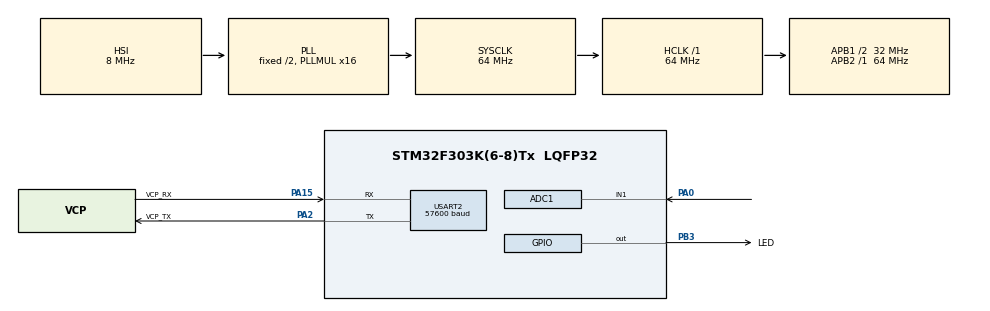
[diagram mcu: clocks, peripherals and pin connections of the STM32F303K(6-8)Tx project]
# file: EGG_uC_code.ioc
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ADC1.Channel-0\#ChannelRegularConversion=ADC_CHANNEL_1
ADC1.ClockPrescaler=ADC_CLOCK_SYNC_PCLK_DIV1
ADC1.ContinuousConvMode=DISABLE
ADC1.DMAContinuousRequests=ENABLE
ADC1.DataAlign=ADC_DATAALIGN_RIGHT
ADC1.DiscontinuousConvMode=DISABLE
ADC1.EOCSelection=ADC_EOC_SINGLE_CONV
ADC1.EnableAnalogWatchDog1=false
ADC1.EnableAnalogWatchDog2=false
ADC1.EnableAnalogWatchDog3=false
ADC1.EnableInjectedConversion=ENABLE
ADC1.EnableRegularConversion=ENABLE
ADC1.ExternalTrigConv=ADC_EXTERNALTRIGCONV_T3_TRGO
ADC1.ExternalTrigConvEdge=ADC_EXTERNALTRIGCONVEDGE_RISING
ADC1.InjNumberOfConversion=0
ADC1.LowPowerAutoWait=DISABLE
ADC1.NbrOfConversion=1
ADC1.NbrOfConversionFlag=1
ADC1.Offset-0\#ChannelRegularConversion=0
ADC1.OffsetNumber-0\#ChannelRegularConversion=ADC_OFFSET_NONE
ADC1.Overrun=ADC_OVR_DATA_OVERWRITTEN
ADC1.Rank-0\#ChannelRegularConversion=1
ADC1.Resolution=ADC_RESOLUTION_12B
ADC1.SamplingTime-0\#ChannelRegularConversion=ADC_SAMPLETIME_1CYCLE_5
ADC1.ScanConvMode=ADC_SCAN_DISABLE
ADC1.SubFamily=STM32F303x8
ADC1.master=1
Dma.ADC1.0.Direction=DMA_PERIPH_TO_MEMORY
Dma.ADC1.0.Instance=DMA1_Channel1
Dma.ADC1.0.MemDataAlignment=DMA_MDATAALIGN_HALFWORD
Dma.ADC1.0.MemInc=DMA_MINC_ENABLE
Dma.ADC1.0.Mode=DMA_CIRCULAR
Dma.ADC1.0.PeriphDataAlignment=DMA_PDATAALIGN_HALFWORD
Dma.ADC1.0.PeriphInc=DMA_PINC_DISABLE
Dma.ADC1.0.Priority=DMA_PRIORITY_MEDIUM
Dma.Request0=ADC1
Dma.Request1=USART2_TX
Dma.USART2_TX.1.Direction=DMA_MEMORY_TO_PERIPH
Dma.USART2_TX.1.Instance=DMA1_Channel7
Dma.USART2_TX.1.MemDataAlignment=DMA_MDATAALIGN_BYTE
Dma.USART2_TX.1.MemInc=DMA_MINC_ENABLE
Dma.USART2_TX.1.Mode=DMA_NORMAL
Dma.USART2_TX.1.PeriphDataAlignment=DMA_PDATAALIGN_BYTE
Dma.USART2_TX.1.PeriphInc=DMA_PINC_DISABLE
Dma.USART2_TX.1.Priority=DMA_PRIORITY_LOW
Mcu.Family=STM32F3
Mcu.Name=STM32F303K(6-8)Tx
Mcu.Package=LQFP32
NVIC.DMA1_Channel1_IRQn=true\:0\:0\:false\:false\:true\:false\:true\:true
NVIC.DMA1_Channel7_IRQn=true\:0\:0\:false\:false\:true\:false\:true\:true
NVIC.PriorityGroup=NVIC_PRIORITYGROUP_4
NVIC.TIM3_IRQn=true\:0\:0\:false\:false\:true\:true\:true\:true
NVIC.USART2_IRQn=true\:0\:0\:false\:false\:true\:true\:true\:true
PA0.Mode=IN1-Single-Ended
PA0.Signal=ADC1_IN1
PA13.GPIO_Label=SWDIO
PA13.Mode=Serial_Wire
PA13.Signal=SYS_JTMS-SWDIO
PA14.GPIO_Label=SWCLK
PA14.Mode=Serial_Wire
PA14.Signal=SYS_JTCK-SWCLK
PA15.GPIO_Label=VCP_RX
PA15.Mode=Asynchronous
PA15.Signal=USART2_RX
PA2.GPIO_Label=VCP_TX
PA2.Mode=Asynchronous
PA2.Signal=USART2_TX
PB3.GPIO_Label=LED
PB3.Signal=GPIO_Output
PF0\ /\ OSC_IN.GPIO_Label=MCO
PF0\ /\ OSC_IN.Mode=HSE-External-Clock-Source
PF0\ /\ OSC_IN.Signal=RCC_OSC_IN
ProjectManager.HeapSize=0x200
ProjectManager.StackSize=0x400
ProjectManager.TargetToolchain=STM32CubeIDE
RCC.AHBFreq_Value=64000000
RCC.APB1CLKDivider=RCC_HCLK_DIV2
RCC.APB1Freq_Value=32000000
RCC.APB1TimFreq_Value=64000000
RCC.APB2Freq_Value=64000000
RCC.APB2TimFreq_Value=64000000
RCC.CortexFreq_Value=64000000
RCC.HCLKFreq_Value=64000000
RCC.HSE_VALUE=8000000
RCC.HSI_VALUE=8000000
RCC.PLLMUL=RCC_PLL_MUL16
RCC.SYSCLKFreq_VALUE=64000000
RCC.SYSCLKSourceVirtual=RCC_SYSCLKSOURCE_PLLCLK
RCC.Usart1ClockSelection=RCC_USART1CLKSOURCE_SYSCLK
TIM3.Period=640
TIM3.Prescaler=100-1
TIM3.TIM_MasterOutputTrigger=TIM_TRGO_UPDATE
USART2.BaudRate=57600
USART2.TxPinLevelInvertParam=ADVFEATURE_TXINV_DISABLE
USART2.VirtualMode-Asynchronous=VM_ASYNC
VP_TIM3_VS_ClockSourceINT.Mode=Internal
board=NUCLEO-F303K8

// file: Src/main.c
/* USER CODE BEGIN Header */
/**
 ******************************************************************************
 * @file           : main.c
 * @brief          : Main program body
 ******************************************************************************
 * @attention
 *
 * Copyright (c) 2026 STMicroelectronics.
 * All rights reserved.
 *
 * This software is licensed under terms that can be found in the LICENSE file
 * in the root directory of this software component.
 * If no LICENSE file comes with this software, it is provided AS-IS.
 *
 ******************************************************************************
 */
/* USER CODE END Header */
#include "main.h"

/* USER CODE BEGIN Includes */
/*
 * main.c
 *
 * This code measures the output from a bioamplifier circuit
 * and sends the values over to a PC over USART.
 * On startup, the code waits for the PC to tell it to start.
 *
 * Created By STM32CubeMX
 *
 * Fix 1: Replaced broken RXNE interrupt workaround with simple
 *         HAL_UART_Receive polling for the startup handshake.
 *         The original HAL internal pointer hack was not reliably
 *         triggering HAL_UART_RxCpltCallback on STM32F303.
 * Fix 2: HAL_printf("starting\n") - added \n so Python readline()
 *         detects end of handshake string.
 * Fix 3: strncmp uses rx_control.buffer + rx_control.tail directly
 *         instead of print_str_ptr to avoid NULL pointer issues.
 */

#include <string.h>
#include "utils.h"

/* Enable Printing of Receive Messages From USART */
#define RECEIVE_PRINT_EN 0
#define ADC_BUFF_SIZE 512
#define ADC_BUFF_HALF_SIZE ADC_BUFF_SIZE / 2
/* The offset is the size of adc array as this accounts for casting 16bit to 8bit int */
#define ADC_BUFF_OFFSET ADC_BUFF_SIZE
#define UART_RX_BUFFER_SIZE 256
#define END_OF_MESSAGE_CHAR '\n'
#define START_STR "start\n"

/* USER CODE END Includes */

ADC_HandleTypeDef hadc1;
DMA_HandleTypeDef hdma_adc1;

TIM_HandleTypeDef htim3;

UART_HandleTypeDef huart2;
DMA_HandleTypeDef hdma_usart2_tx;

/* USER CODE BEGIN PV */

/* __IO is volatile in HAL library */
__IO uint8_t *print_str_ptr = NULL;
__IO uint16_t adc_val[ADC_BUFF_SIZE] = {0}; /* Where the ADC values are stored */
__IO uint16_t adc_array_offset = 0;         /* Offset for sending first or second half of ADC buffer */
__IO uint8_t adc_print = 0;                 /* Print adc values flag */
__IO uint8_t str_print = 0;                 /* Print string flag */
__IO uint8_t end_of_message = 0;            /* Flag is set when start of string has been sent */
__IO uint8_t start = 0;                     /* Flag to start main loop after receiving response from PC */

uint8_t rx_buffer[UART_RX_BUFFER_SIZE] = {0}; /* Buffer for received messages over USART */
circle_buff_s rx_control = {                  /* Struct for managing receive buffer */
                            .buffer = rx_buffer,
                            .head = 0,
                            .tail = 0,
                            .size = UART_RX_BUFFER_SIZE,
                            .wrapped = 0};

/* USER CODE END PV */

void SystemClock_Config(void);
static void MX_GPIO_Init(void);
static void MX_DMA_Init(void);
static void MX_ADC1_Init(void);
static void MX_TIM3_Init(void);
static void MX_USART2_UART_Init(void);

int main(void)
{

  /* MCU Configuration--------------------------------------------------------*/
  HAL_Init();

  SystemClock_Config();

  MX_GPIO_Init();
  MX_DMA_Init();
  MX_ADC1_Init();
  MX_TIM3_Init();
  MX_USART2_UART_Init();

  /* USER CODE BEGIN 2 */

  /* -------------------------------------------------------------------------
   * FIX 1: STARTUP HANDSHAKE using HAL_UART_Receive polling
   *
   * The original code used a fragile hack (manually setting huart2.pRxBuffPtr)
   * to try to receive bytes via interrupt before the HAL was fully set up.
   * This did not work reliably on STM32F303.
   *
   * Instead we now poll for bytes with a 1ms timeout inside a loop that also
   * sends "s" every 500ms. When a full line ending with '\n' is received,
   * we check if it equals "start\n" and proceed if it does.
   * ------------------------------------------------------------------------- */
  {
    uint8_t handshake_buf[16] = {0};
    uint8_t handshake_idx = 0;
    uint8_t rx_byte = 0;
    uint32_t last_send_tick = 0;

    while (!start)
    {
      /* Send "s" every 500ms */
      if ((HAL_GetTick() - last_send_tick) >= 500)
      {
        HAL_printf("s");
        last_send_tick = HAL_GetTick();
      }

      /* Poll for one byte with 1ms timeout (non-blocking feel) */
      if (HAL_UART_Receive(&huart2, &rx_byte, 1, 1) == HAL_OK)
      {
        /* Store byte, guard against overflow */
        if (handshake_idx < sizeof(handshake_buf) - 1)
        {
          handshake_buf[handshake_idx++] = rx_byte;
        }
        else
        {
          /* Overflow - reset buffer */
          memset(handshake_buf, 0, sizeof(handshake_buf));
          handshake_idx = 0;
          handshake_buf[handshake_idx++] = rx_byte;
        }

        /* End of message received */
        if (rx_byte == END_OF_MESSAGE_CHAR)
        {
          /* Check for "start\n" */
          if (strncmp((char *)handshake_buf, START_STR, strlen(START_STR)) == 0)
          {
            start = 1;
          }
          /* Reset for next message */
          memset(handshake_buf, 0, sizeof(handshake_buf));
          handshake_idx = 0;
        }
      }
    }
  }

  /* FIX 2: Added \n so Python readline() detects end of this response */
  HAL_printf("starting\n");

  /* Wait for UART DMA to finish sending "starting\n" before touching ADC.
   * Without this, DMA is still busy when ADC calibration starts → HAL_BUSY
   * → Error_Handler → red LED. */
  HAL_Delay(200);

  /* Calibrate ADC */
  HAL_Status_Check(HAL_ADCEx_Calibration_Start(&hadc1, ADC_SINGLE_ENDED));

  /* Start DMA controller taking samples from ADC and placing them in buffer */
  HAL_Status_Check(HAL_ADC_Start_DMA(&hadc1, (uint32_t *)&adc_val, ADC_BUFF_SIZE));

  /* Start timer used to trigger ADC conversions, timer set to 1KHz */
  HAL_Status_Check(HAL_TIM_Base_Start_IT(&htim3));

  /* Enable interrupt for runtime UART receive (after handshake is complete) */
  __HAL_UART_ENABLE_IT(&huart2, UART_IT_RXNE);
  huart2.pRxBuffPtr = rx_control.buffer;
  huart2.Mask = 0xFFU;

  /* USER CODE END 2 */

  /* Infinite loop */
  /* USER CODE BEGIN WHILE */
  while (1)
  {
    /* ADC values ready to send */
    if (adc_print)
    {
      /* Sending half the ADC buffer: 512 uint8_t's = 256 uint16_t's */
      HAL_print_raw((uint8_t *)(&adc_val) + adc_array_offset, ADC_BUFF_SIZE);
      adc_print = 0;
    }

    /* Received message over USART, print it back (only if RECEIVE_PRINT_EN=1) */
    if (str_print && RECEIVE_PRINT_EN)
    {
      if (!end_of_message)
      {
        HAL_printf("Received %s", print_str_ptr);
      }
      else
      {
        HAL_print_raw((uint8_t *)print_str_ptr, rx_control.head);
        HAL_print_raw((uint8_t *)'\n', 1);
        end_of_message = 0;
      }
      str_print = 0;
    }
    /* USER CODE END WHILE */

  }
}

void SystemClock_Config(void)
{
  RCC_OscInitTypeDef RCC_OscInitStruct = {0};
  RCC_ClkInitTypeDef RCC_ClkInitStruct = {0};

  RCC_OscInitStruct.OscillatorType = RCC_OSCILLATORTYPE_HSI;
  RCC_OscInitStruct.HSIState = RCC_HSI_ON;
  RCC_OscInitStruct.HSICalibrationValue = RCC_HSICALIBRATION_DEFAULT;
  RCC_OscInitStruct.PLL.PLLState = RCC_PLL_ON;
  RCC_OscInitStruct.PLL.PLLSource = RCC_PLLSOURCE_HSI;
  RCC_OscInitStruct.PLL.PLLMUL = RCC_PLL_MUL16;
  if (HAL_RCC_OscConfig(&RCC_OscInitStruct) != HAL_OK)
  {
    Error_Handler();
  }

  RCC_ClkInitStruct.ClockType = RCC_CLOCKTYPE_HCLK | RCC_CLOCKTYPE_SYSCLK | RCC_CLOCKTYPE_PCLK1 | RCC_CLOCKTYPE_PCLK2;
  RCC_ClkInitStruct.SYSCLKSource = RCC_SYSCLKSOURCE_PLLCLK;
  RCC_ClkInitStruct.AHBCLKDivider = RCC_SYSCLK_DIV1;
  RCC_ClkInitStruct.APB1CLKDivider = RCC_HCLK_DIV2;
  RCC_ClkInitStruct.APB2CLKDivider = RCC_HCLK_DIV1;

  if (HAL_RCC_ClockConfig(&RCC_ClkInitStruct, FLASH_LATENCY_2) != HAL_OK)
  {
    Error_Handler();
  }
}

static void MX_ADC1_Init(void)
{

  ADC_MultiModeTypeDef multimode = {0};
  ADC_ChannelConfTypeDef sConfig = {0};

  hadc1.Instance = ADC1;
  hadc1.Init.ClockPrescaler = ADC_CLOCK_SYNC_PCLK_DIV1;
  hadc1.Init.Resolution = ADC_RESOLUTION_12B;
  hadc1.Init.ScanConvMode = ADC_SCAN_DISABLE;
  hadc1.Init.ContinuousConvMode = DISABLE;
  hadc1.Init.DiscontinuousConvMode = DISABLE;
  hadc1.Init.ExternalTrigConvEdge = ADC_EXTERNALTRIGCONVEDGE_RISING;
  hadc1.Init.ExternalTrigConv = ADC_EXTERNALTRIGCONV_T3_TRGO;
  hadc1.Init.DataAlign = ADC_DATAALIGN_RIGHT;
  hadc1.Init.NbrOfConversion = 1;
  hadc1.Init.DMAContinuousRequests = ENABLE;
  hadc1.Init.EOCSelection = ADC_EOC_SINGLE_CONV;
  hadc1.Init.LowPowerAutoWait = DISABLE;
  hadc1.Init.Overrun = ADC_OVR_DATA_OVERWRITTEN;
  if (HAL_ADC_Init(&hadc1) != HAL_OK)
  {
    Error_Handler();
  }

  multimode.Mode = ADC_MODE_INDEPENDENT;
  if (HAL_ADCEx_MultiModeConfigChannel(&hadc1, &multimode) != HAL_OK)
  {
    Error_Handler();
  }

  sConfig.Channel = ADC_CHANNEL_1;
  sConfig.Rank = ADC_REGULAR_RANK_1;
  sConfig.SingleDiff = ADC_SINGLE_ENDED;
  sConfig.SamplingTime = ADC_SAMPLETIME_1CYCLE_5;
  sConfig.OffsetNumber = ADC_OFFSET_NONE;
  sConfig.Offset = 0;
  if (HAL_ADC_ConfigChannel(&hadc1, &sConfig) != HAL_OK)
  {
    Error_Handler();
  }

}

static void MX_TIM3_Init(void)
{

  TIM_ClockConfigTypeDef sClockSourceConfig = {0};
  TIM_MasterConfigTypeDef sMasterConfig = {0};

  htim3.Instance = TIM3;
  htim3.Init.Prescaler = 100 - 1;
  htim3.Init.CounterMode = TIM_COUNTERMODE_UP;
  htim3.Init.Period = 640;
  htim3.Init.ClockDivision = TIM_CLOCKDIVISION_DIV1;
  htim3.Init.AutoReloadPreload = TIM_AUTORELOAD_PRELOAD_DISABLE;
  if (HAL_TIM_Base_Init(&htim3) != HAL_OK)
  {
    Error_Handler();
  }

  sClockSourceConfig.ClockSource = TIM_CLOCKSOURCE_INTERNAL;
  if (HAL_TIM_ConfigClockSource(&htim3, &sClockSourceConfig) != HAL_OK)
  {
    Error_Handler();
  }

  sMasterConfig.MasterOutputTrigger = TIM_TRGO_UPDATE;
  sMasterConfig.MasterSlaveMode = TIM_MASTERSLAVEMODE_DISABLE;
  if (HAL_TIMEx_MasterConfigSynchronization(&htim3, &sMasterConfig) != HAL_OK)
  {
    Error_Handler();
  }

}

static void MX_USART2_UART_Init(void)
{

  huart2.Instance = USART2;
  huart2.Init.BaudRate = 57600;
  huart2.Init.WordLength = UART_WORDLENGTH_8B;
  huart2.Init.StopBits = UART_STOPBITS_1;
  huart2.Init.Parity = UART_PARITY_NONE;
  huart2.Init.Mode = UART_MODE_TX_RX;
  huart2.Init.HwFlowCtl = UART_HWCONTROL_NONE;
  huart2.Init.OverSampling = UART_OVERSAMPLING_16;
  huart2.Init.OneBitSampling = UART_ONE_BIT_SAMPLE_DISABLE;
  huart2.AdvancedInit.AdvFeatureInit = UART_ADVFEATURE_NO_INIT;
  if (HAL_UART_Init(&huart2) != HAL_OK)
  {
    Error_Handler();
  }

}

static void MX_DMA_Init(void)
{
  __HAL_RCC_DMA1_CLK_ENABLE();

  HAL_NVIC_SetPriority(DMA1_Channel1_IRQn, 0, 0);
  HAL_NVIC_EnableIRQ(DMA1_Channel1_IRQn);

  HAL_NVIC_SetPriority(DMA1_Channel7_IRQn, 0, 0);
  HAL_NVIC_EnableIRQ(DMA1_Channel7_IRQn);
}

static void MX_GPIO_Init(void)
{
  GPIO_InitTypeDef GPIO_InitStruct = {0};

  __HAL_RCC_GPIOF_CLK_ENABLE();
  __HAL_RCC_GPIOA_CLK_ENABLE();
  __HAL_RCC_GPIOB_CLK_ENABLE();

  HAL_GPIO_WritePin(LED_GPIO_Port, LED_Pin, GPIO_PIN_RESET);

  GPIO_InitStruct.Pin = GPIO_PIN_1;
  GPIO_InitStruct.Mode = GPIO_MODE_ANALOG;
  GPIO_InitStruct.Pull = GPIO_NOPULL;
  HAL_GPIO_Init(GPIOF, &GPIO_InitStruct);

  GPIO_InitStruct.Pin = GPIO_PIN_1 | GPIO_PIN_3 | GPIO_PIN_4 | GPIO_PIN_5 | GPIO_PIN_6 | GPIO_PIN_7 | GPIO_PIN_8 | GPIO_PIN_9 | GPIO_PIN_10 | GPIO_PIN_11 | GPIO_PIN_12;
  GPIO_InitStruct.Mode = GPIO_MODE_ANALOG;
  GPIO_InitStruct.Pull = GPIO_NOPULL;
  HAL_GPIO_Init(GPIOA, &GPIO_InitStruct);

  GPIO_InitStruct.Pin = GPIO_PIN_0 | GPIO_PIN_1 | GPIO_PIN_4 | GPIO_PIN_5 | GPIO_PIN_6 | GPIO_PIN_7;
  GPIO_InitStruct.Mode = GPIO_MODE_ANALOG;
  GPIO_InitStruct.Pull = GPIO_NOPULL;
  HAL_GPIO_Init(GPIOB, &GPIO_InitStruct);

  GPIO_InitStruct.Pin = LED_Pin;
  GPIO_InitStruct.Mode = GPIO_MODE_OUTPUT_PP;
  GPIO_InitStruct.Pull = GPIO_NOPULL;
  GPIO_InitStruct.Speed = GPIO_SPEED_FREQ_LOW;
  HAL_GPIO_Init(LED_GPIO_Port, &GPIO_InitStruct);

}

/* USER CODE BEGIN 4 */

/* Called when the ADC has filled half of the buffer */
void HAL_ADC_ConvHalfCpltCallback(ADC_HandleTypeDef *hadc)
{
  adc_print = 1;
  adc_array_offset = 0;
}

/* Called when the ADC has filled the buffer */
void HAL_ADC_ConvCpltCallback(ADC_HandleTypeDef *hadc)
{
  adc_print = 1;
  adc_array_offset = ADC_BUFF_OFFSET;
  HAL_Status_Check(HAL_ADC_Start_DMA(&hadc1, (uint32_t *)&adc_val, ADC_BUFF_SIZE));
}

/* Called when UART receives 1 byte (runtime use only, after handshake) */
void HAL_UART_RxCpltCallback(UART_HandleTypeDef *huart)
{
  /* End of buffer - wrap around */
  if ((uint32_t)huart->pRxBuffPtr >= ((uint32_t)(rx_control.buffer) + rx_control.size - 1))
  {
    print_str_ptr = rx_control.buffer + rx_control.tail;
    huart->pRxBuffPtr = rx_control.buffer;
    rx_control.head = 0;
    rx_control.tail = 0;
    rx_control.wrapped = 1;
    str_print = 1;
  }
  else
  {
    rx_control.head++;
  }

  /* Full message received */
  if ((uint8_t)*(rx_control.buffer + rx_control.head - 1) == (uint8_t)END_OF_MESSAGE_CHAR)
  {
    if (!str_print)
    {
      print_str_ptr = rx_control.buffer + rx_control.tail;
      if (RECEIVE_PRINT_EN)
      {
        str_print = 1;
      }
    }

    /* FIX 3: Compare directly from buffer+tail, not from print_str_ptr */
    if (!start && !(strncmp((char *)(rx_control.buffer + rx_control.tail), START_STR, strlen(START_STR))))
    {
      start = 1;
    }

    rx_control.tail = rx_control.head;

    if (rx_control.wrapped)
    {
      rx_control.wrapped = 0;
      memset(rx_control.buffer + rx_control.tail, 0, rx_control.size - rx_control.tail);
      end_of_message = 1;
    }
  }

  /* Re-enable byte received interrupt */
  __HAL_UART_ENABLE_IT(huart, UART_IT_RXNE);
}

/* USER CODE END 4 */

void Error_Handler(void)
{
  while (1)
  {
  }
}
